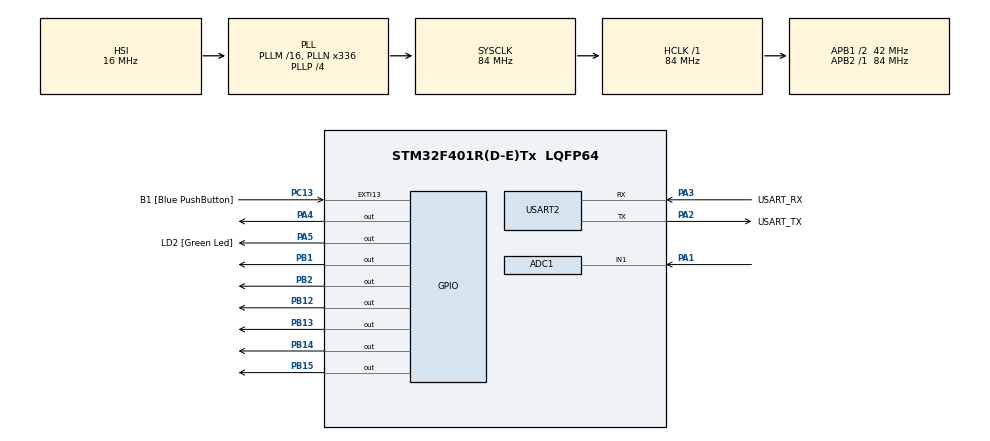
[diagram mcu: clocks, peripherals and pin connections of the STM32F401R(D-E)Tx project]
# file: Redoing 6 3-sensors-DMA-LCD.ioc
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ADC1.Channel-1\#ChannelRegularConversion=ADC_CHANNEL_1
ADC1.Channel-2\#ChannelRegularConversion=ADC_CHANNEL_TEMPSENSOR
ADC1.Channel-3\#ChannelRegularConversion=ADC_CHANNEL_VREFINT
ADC1.ContinuousConvMode=DISABLE
ADC1.DMAContinuousRequests=ENABLE
ADC1.EOCSelection=ADC_EOC_SEQ_CONV
ADC1.ExternalTrigConv=ADC_EXTERNALTRIGCONV_T2_TRGO
ADC1.InjNumberOfConversion=0
ADC1.NbrOfConversion=3
ADC1.NbrOfConversionFlag=1
ADC1.Rank-1\#ChannelRegularConversion=1
ADC1.Rank-2\#ChannelRegularConversion=2
ADC1.Rank-3\#ChannelRegularConversion=3
ADC1.SamplingTime-1\#ChannelRegularConversion=ADC_SAMPLETIME_480CYCLES
ADC1.SamplingTime-2\#ChannelRegularConversion=ADC_SAMPLETIME_480CYCLES
ADC1.SamplingTime-3\#ChannelRegularConversion=ADC_SAMPLETIME_56CYCLES
ADC1.master=1
Dma.ADC1.0.Direction=DMA_PERIPH_TO_MEMORY
Dma.ADC1.0.FIFOMode=DMA_FIFOMODE_DISABLE
Dma.ADC1.0.Instance=DMA2_Stream0
Dma.ADC1.0.MemDataAlignment=DMA_MDATAALIGN_HALFWORD
Dma.ADC1.0.MemInc=DMA_MINC_ENABLE
Dma.ADC1.0.Mode=DMA_CIRCULAR
Dma.ADC1.0.PeriphDataAlignment=DMA_PDATAALIGN_HALFWORD
Dma.ADC1.0.PeriphInc=DMA_PINC_DISABLE
Dma.ADC1.0.Priority=DMA_PRIORITY_LOW
Dma.Request0=ADC1
Mcu.Family=STM32F4
Mcu.Name=STM32F401R(D-E)Tx
Mcu.Package=LQFP64
NVIC.ADC_IRQn=true\:0\:0\:false\:false\:true\:true\:true\:true
NVIC.DMA2_Stream0_IRQn=true\:0\:0\:false\:false\:true\:false\:true\:true
NVIC.PriorityGroup=NVIC_PRIORITYGROUP_0
NVIC.TIM2_IRQn=true\:0\:0\:false\:false\:true\:true\:true\:true
NVIC.USART2_IRQn=true\:0\:0\:false\:false\:true\:true\:true\:true
PA1.Signal=ADCx_IN1
PA13.GPIO_Label=TMS
PA13.Mode=Serial_Wire
PA13.Signal=SYS_JTMS-SWDIO
PA14.GPIO_Label=TCK
PA14.Mode=Serial_Wire
PA14.Signal=SYS_JTCK-SWCLK
PA2.GPIO_Label=USART_TX
PA2.GPIO_Mode=GPIO_MODE_AF_PP
PA2.GPIO_PuPd=GPIO_NOPULL
PA2.GPIO_Speed=GPIO_SPEED_FREQ_LOW
PA2.Mode=Asynchronous
PA2.Signal=USART2_TX
PA3.GPIO_Label=USART_RX
PA3.GPIO_Mode=GPIO_MODE_AF_PP
PA3.GPIO_PuPd=GPIO_NOPULL
PA3.GPIO_Speed=GPIO_SPEED_FREQ_LOW
PA3.Mode=Asynchronous
PA3.Signal=USART2_RX
PA4.Signal=GPIO_Output
PA5.GPIO_Label=LD2 [Green Led]
PA5.GPIO_Mode=GPIO_MODE_OUTPUT_PP
PA5.GPIO_PuPd=GPIO_NOPULL
PA5.GPIO_Speed=GPIO_SPEED_FREQ_LOW
PA5.Signal=GPIO_Output
PB1.Signal=GPIO_Output
PB12.Signal=GPIO_Output
PB13.Signal=GPIO_Output
PB14.Signal=GPIO_Output
PB15.Signal=GPIO_Output
PB2.Signal=GPIO_Output
PB3.GPIO_Label=SWO
PB3.Signal=SYS_JTDO-SWO
PC13-ANTI_TAMP.GPIO_Label=B1 [Blue PushButton]
PC13-ANTI_TAMP.GPIO_ModeDefaultEXTI=GPIO_MODE_IT_FALLING
PC13-ANTI_TAMP.GPIO_PuPd=GPIO_NOPULL
PC13-ANTI_TAMP.Signal=GPXTI13
PC14-OSC32_IN.Mode=LSE-External-Oscillator
PC14-OSC32_IN.Signal=RCC_OSC32_IN
PC15-OSC32_OUT.Mode=LSE-External-Oscillator
PC15-OSC32_OUT.Signal=RCC_OSC32_OUT
PH0\ -\ OSC_IN.Mode=HSE-External-Clock-Source
PH0\ -\ OSC_IN.Signal=RCC_OSC_IN
PH1\ -\ OSC_OUT.Mode=HSE-External-Clock-Source
PH1\ -\ OSC_OUT.Signal=RCC_OSC_OUT
ProjectManager.HeapSize=0x200
ProjectManager.StackSize=0x400
ProjectManager.TargetToolchain=STM32CubeIDE
RCC.48MHZClocksFreq_Value=48000000
RCC.AHBFreq_Value=84000000
RCC.APB1CLKDivider=RCC_HCLK_DIV2
RCC.APB1Freq_Value=42000000
RCC.APB1TimFreq_Value=84000000
RCC.APB2Freq_Value=84000000
RCC.APB2TimFreq_Value=84000000
RCC.CortexFreq_Value=84000000
RCC.HCLKFreq_Value=84000000
RCC.HSE_VALUE=8000000
RCC.HSI_VALUE=16000000
RCC.PLLN=336
RCC.PLLP=RCC_PLLP_DIV4
RCC.PLLQ=7
RCC.SYSCLKFreq_VALUE=84000000
RCC.SYSCLKSource=RCC_SYSCLKSOURCE_PLLCLK
RCC.VCOOutputFreq_Value=336000000
SH.ADCx_IN1.0=ADC1_IN1,IN1
TIM2.Period=5000-1
TIM2.Prescaler=8400-1
TIM2.TIM_MasterOutputTrigger=TIM_TRGO_UPDATE
TIM2.TIM_MasterSlaveMode=TIM_MASTERSLAVEMODE_ENABLE
USART2.VirtualMode=VM_ASYNC
VP_ADC1_TempSens_Input.Mode=IN-TempSens
VP_ADC1_Vref_Input.Mode=IN-Vrefint
VP_TIM2_VS_ClockSourceINT.Mode=Internal
board=NUCLEO-F401RE

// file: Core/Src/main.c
/* USER CODE BEGIN Header */
/**
  ******************************************************************************
  * @file           : main.c
  * @brief          : Main program body
  ******************************************************************************
  * @attention
  *
  * Copyright (c) 2024 STMicroelectronics.
  * All rights reserved.
  *
  * This software is licensed under terms that can be found in the LICENSE file
  * in the root directory of this software component.
  * If no LICENSE file comes with this software, it is provided AS-IS.
  *
  ******************************************************************************
  */
/* USER CODE END Header */
#include "main.h"

/* USER CODE BEGIN Includes */
#include <stdio.h>
#include <string.h>
#include "PMDB16_LCD.h"
/* USER CODE END Includes */

ADC_HandleTypeDef hadc1;
DMA_HandleTypeDef hdma_adc1;

TIM_HandleTypeDef htim2;

UART_HandleTypeDef huart2;

/* USER CODE BEGIN PV */
uint16_t x[3];
/* USER CODE END PV */

void SystemClock_Config(void);
static void MX_GPIO_Init(void);
static void MX_DMA_Init(void);
static void MX_USART2_UART_Init(void);
static void MX_ADC1_Init(void);
static void MX_TIM2_Init(void);

/* USER CODE BEGIN 0 */
void HAL_ADC_ConvCpltCallback(ADC_HandleTypeDef *hadc){
	if(hadc == &hadc1){
		char str[128];
		float knob = (float)x[0] / 4095.0 * 3.3;
		float temp = (((float)x[1]/4095.0 *3.3) - 0.76)/0.025 + 25;
		float Vref = (float)x[2] / 4095.0 * 3.3;
		snprintf(str, 64, "Knob:%.3f Temp:%.3f Vref:%.3f\r\n", knob, temp, Vref);
		HAL_UART_Transmit(&huart2, (uint8_t*) str, strlen(str), 100);
		lcd_println(str, 0);
		lcd_println(str+16, 1);

	}
}
/* USER CODE END 0 */

int main(void)
{

  /* MCU Configuration--------------------------------------------------------*/

  /* Reset of all peripherals, Initializes the Flash interface and the Systick. */
  HAL_Init();

  /* Configure the system clock */
  SystemClock_Config();

  /* Initialize all configured peripherals */
  MX_GPIO_Init();
  MX_DMA_Init();
  MX_USART2_UART_Init();
  MX_ADC1_Init();
  MX_TIM2_Init();
  /* USER CODE BEGIN 2 */
  lcd_initialize();
  lcd_backlight_ON();

  HAL_TIM_Base_Start_IT(&htim2);
  HAL_ADC_Start_DMA(&hadc1, x, 3);

  /* USER CODE END 2 */

  /* Infinite loop */
  while (1)
  {

  }
}

void SystemClock_Config(void)
{
  RCC_OscInitTypeDef RCC_OscInitStruct = {0};
  RCC_ClkInitTypeDef RCC_ClkInitStruct = {0};

  /** Configure the main internal regulator output voltage
  */
  __HAL_RCC_PWR_CLK_ENABLE();
  __HAL_PWR_VOLTAGESCALING_CONFIG(PWR_REGULATOR_VOLTAGE_SCALE2);

  /** Initializes the RCC Oscillators according to the specified parameters
  * in the RCC_OscInitTypeDef structure.
  */
  RCC_OscInitStruct.OscillatorType = RCC_OSCILLATORTYPE_HSI;
  RCC_OscInitStruct.HSIState = RCC_HSI_ON;
  RCC_OscInitStruct.HSICalibrationValue = RCC_HSICALIBRATION_DEFAULT;
  RCC_OscInitStruct.PLL.PLLState = RCC_PLL_ON;
  RCC_OscInitStruct.PLL.PLLSource = RCC_PLLSOURCE_HSI;
  RCC_OscInitStruct.PLL.PLLM = 16;
  RCC_OscInitStruct.PLL.PLLN = 336;
  RCC_OscInitStruct.PLL.PLLP = RCC_PLLP_DIV4;
  RCC_OscInitStruct.PLL.PLLQ = 7;
  if (HAL_RCC_OscConfig(&RCC_OscInitStruct) != HAL_OK)
  {
    Error_Handler();
  }

  /** Initializes the CPU, AHB and APB buses clocks
  */
  RCC_ClkInitStruct.ClockType = RCC_CLOCKTYPE_HCLK|RCC_CLOCKTYPE_SYSCLK
                              |RCC_CLOCKTYPE_PCLK1|RCC_CLOCKTYPE_PCLK2;
  RCC_ClkInitStruct.SYSCLKSource = RCC_SYSCLKSOURCE_PLLCLK;
  RCC_ClkInitStruct.AHBCLKDivider = RCC_SYSCLK_DIV1;
  RCC_ClkInitStruct.APB1CLKDivider = RCC_HCLK_DIV2;
  RCC_ClkInitStruct.APB2CLKDivider = RCC_HCLK_DIV1;

  if (HAL_RCC_ClockConfig(&RCC_ClkInitStruct, FLASH_LATENCY_2) != HAL_OK)
  {
    Error_Handler();
  }
}

static void MX_ADC1_Init(void)
{

  ADC_ChannelConfTypeDef sConfig = {0};

  /** Configure the global features of the ADC (Clock, Resolution, Data Alignment and number of conversion)
  */
  hadc1.Instance = ADC1;
  hadc1.Init.ClockPrescaler = ADC_CLOCK_SYNC_PCLK_DIV4;
  hadc1.Init.Resolution = ADC_RESOLUTION_12B;
  hadc1.Init.ScanConvMode = ENABLE;
  hadc1.Init.ContinuousConvMode = DISABLE;
  hadc1.Init.DiscontinuousConvMode = DISABLE;
  hadc1.Init.ExternalTrigConvEdge = ADC_EXTERNALTRIGCONVEDGE_RISING;
  hadc1.Init.ExternalTrigConv = ADC_EXTERNALTRIGCONV_T2_TRGO;
  hadc1.Init.DataAlign = ADC_DATAALIGN_RIGHT;
  hadc1.Init.NbrOfConversion = 3;
  hadc1.Init.DMAContinuousRequests = ENABLE;
  hadc1.Init.EOCSelection = ADC_EOC_SEQ_CONV;
  if (HAL_ADC_Init(&hadc1) != HAL_OK)
  {
    Error_Handler();
  }

  /** Configure for the selected ADC regular channel its corresponding rank in the sequencer and its sample time.
  */
  sConfig.Channel = ADC_CHANNEL_1;
  sConfig.Rank = 1;
  sConfig.SamplingTime = ADC_SAMPLETIME_480CYCLES;
  if (HAL_ADC_ConfigChannel(&hadc1, &sConfig) != HAL_OK)
  {
    Error_Handler();
  }

  /** Configure for the selected ADC regular channel its corresponding rank in the sequencer and its sample time.
  */
  sConfig.Channel = ADC_CHANNEL_TEMPSENSOR;
  sConfig.Rank = 2;
  if (HAL_ADC_ConfigChannel(&hadc1, &sConfig) != HAL_OK)
  {
    Error_Handler();
  }

  /** Configure for the selected ADC regular channel its corresponding rank in the sequencer and its sample time.
  */
  sConfig.Channel = ADC_CHANNEL_VREFINT;
  sConfig.Rank = 3;
  sConfig.SamplingTime = ADC_SAMPLETIME_56CYCLES;
  if (HAL_ADC_ConfigChannel(&hadc1, &sConfig) != HAL_OK)
  {
    Error_Handler();
  }

}

static void MX_TIM2_Init(void)
{

  TIM_ClockConfigTypeDef sClockSourceConfig = {0};
  TIM_MasterConfigTypeDef sMasterConfig = {0};

  htim2.Instance = TIM2;
  htim2.Init.Prescaler = 8400-1;
  htim2.Init.CounterMode = TIM_COUNTERMODE_UP;
  htim2.Init.Period = 5000-1;
  htim2.Init.ClockDivision = TIM_CLOCKDIVISION_DIV1;
  htim2.Init.AutoReloadPreload = TIM_AUTORELOAD_PRELOAD_DISABLE;
  if (HAL_TIM_Base_Init(&htim2) != HAL_OK)
  {
    Error_Handler();
  }
  sClockSourceConfig.ClockSource = TIM_CLOCKSOURCE_INTERNAL;
  if (HAL_TIM_ConfigClockSource(&htim2, &sClockSourceConfig) != HAL_OK)
  {
    Error_Handler();
  }
  sMasterConfig.MasterOutputTrigger = TIM_TRGO_UPDATE;
  sMasterConfig.MasterSlaveMode = TIM_MASTERSLAVEMODE_ENABLE;
  if (HAL_TIMEx_MasterConfigSynchronization(&htim2, &sMasterConfig) != HAL_OK)
  {
    Error_Handler();
  }

}

static void MX_USART2_UART_Init(void)
{

  huart2.Instance = USART2;
  huart2.Init.BaudRate = 115200;
  huart2.Init.WordLength = UART_WORDLENGTH_8B;
  huart2.Init.StopBits = UART_STOPBITS_1;
  huart2.Init.Parity = UART_PARITY_NONE;
  huart2.Init.Mode = UART_MODE_TX_RX;
  huart2.Init.HwFlowCtl = UART_HWCONTROL_NONE;
  huart2.Init.OverSampling = UART_OVERSAMPLING_16;
  if (HAL_UART_Init(&huart2) != HAL_OK)
  {
    Error_Handler();
  }

}

static void MX_DMA_Init(void)
{

  /* DMA controller clock enable */
  __HAL_RCC_DMA2_CLK_ENABLE();

  /* DMA interrupt init */
  /* DMA2_Stream0_IRQn interrupt configuration */
  HAL_NVIC_SetPriority(DMA2_Stream0_IRQn, 0, 0);
  HAL_NVIC_EnableIRQ(DMA2_Stream0_IRQn);

}

static void MX_GPIO_Init(void)
{
  GPIO_InitTypeDef GPIO_InitStruct = {0};

  /* GPIO Ports Clock Enable */
  __HAL_RCC_GPIOC_CLK_ENABLE();
  __HAL_RCC_GPIOH_CLK_ENABLE();
  __HAL_RCC_GPIOA_CLK_ENABLE();
  __HAL_RCC_GPIOB_CLK_ENABLE();

  /*Configure GPIO pin Output Level */
  HAL_GPIO_WritePin(GPIOA, GPIO_PIN_4|LD2_Pin, GPIO_PIN_RESET);

  /*Configure GPIO pin Output Level */
  HAL_GPIO_WritePin(GPIOB, GPIO_PIN_1|GPIO_PIN_2|GPIO_PIN_12|GPIO_PIN_13
                          |GPIO_PIN_14|GPIO_PIN_15, GPIO_PIN_RESET);

  /*Configure GPIO pin : B1_Pin */
  GPIO_InitStruct.Pin = B1_Pin;
  GPIO_InitStruct.Mode = GPIO_MODE_IT_FALLING;
  GPIO_InitStruct.Pull = GPIO_NOPULL;
  HAL_GPIO_Init(B1_GPIO_Port, &GPIO_InitStruct);

  /*Configure GPIO pins : PA4 LD2_Pin */
  GPIO_InitStruct.Pin = GPIO_PIN_4|LD2_Pin;
  GPIO_InitStruct.Mode = GPIO_MODE_OUTPUT_PP;
  GPIO_InitStruct.Pull = GPIO_NOPULL;
  GPIO_InitStruct.Speed = GPIO_SPEED_FREQ_LOW;
  HAL_GPIO_Init(GPIOA, &GPIO_InitStruct);

  /*Configure GPIO pins : PB1 PB2 PB12 PB13
                           PB14 PB15 */
  GPIO_InitStruct.Pin = GPIO_PIN_1|GPIO_PIN_2|GPIO_PIN_12|GPIO_PIN_13
                          |GPIO_PIN_14|GPIO_PIN_15;
  GPIO_InitStruct.Mode = GPIO_MODE_OUTPUT_PP;
  GPIO_InitStruct.Pull = GPIO_NOPULL;
  GPIO_InitStruct.Speed = GPIO_SPEED_FREQ_LOW;
  HAL_GPIO_Init(GPIOB, &GPIO_InitStruct);

}

void Error_Handler(void)
{
  __disable_irq();
  while (1)
  {
  }
}
